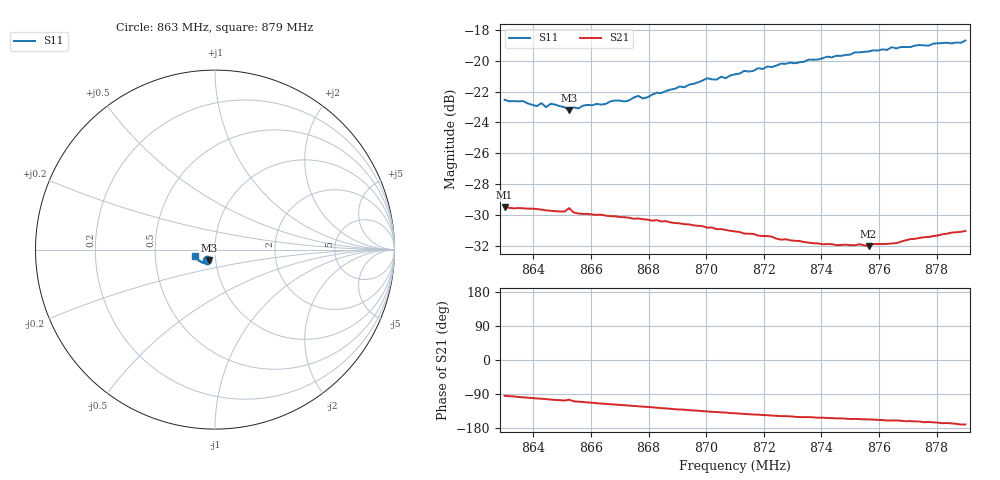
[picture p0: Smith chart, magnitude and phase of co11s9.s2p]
# HZ S RI R 50
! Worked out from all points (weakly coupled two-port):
!   101 points, 863 MHz to 879 MHz, reference 50 ohm
!   highest |S21| = -29.49 dB at 863 MHz (marker M1); lowest = -32.0 dB at 875.64 MHz (marker M2)
!   lowest |S11| = -23.2 dB at 865.24 MHz (marker M3), VSWR 1.15, Z = 46.3 - j5.54 ohm
!   |S11| at or under -10 dB: start of sweep to end of sweep
!   S12 and S22 are empty: the file has one direction only
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8.63e8  -0.045 -0.0596  -0.0027 -0.0334  0 0  0 0
8.6364e8  -0.0438 -0.0596  -0.00496 -0.0329  0 0  0 0
8.6412e8  -0.0413 -0.058  -0.0065 -0.0324  0 0  0 0
8.6428e8  -0.0411 -0.0601  -0.00698 -0.0322  0 0  0 0
8.6444e8  -0.04 -0.0583  -0.00751 -0.0319  0 0  0 0
8.646e8  -0.0405 -0.0602  -0.00809 -0.0316  0 0  0 0
8.6508e8  -0.0387 -0.0592  -0.00954 -0.031  0 0  0 0
8.6524e8  -0.0348 -0.0596  -0.00846 -0.0322  0 0  0 0
8.654e8  -0.0375 -0.0598  -0.0105 -0.0305  0 0  0 0
8.6572e8  -0.0369 -0.0612  -0.0112 -0.0298  0 0  0 0
8.6716e8  -0.0369 -0.0638  -0.0152 -0.0271  0 0  0 0
8.6764e8  -0.0387 -0.0664  -0.0164 -0.0261  0 0  0 0
8.678e8  -0.0379 -0.0652  -0.0167 -0.0257  0 0  0 0
8.6844e8  -0.04 -0.0675  -0.0181 -0.0241  0 0  0 0
8.7004e8  -0.0479 -0.0735  -0.0206 -0.0201  0 0  0 0
8.7036e8  -0.0483 -0.0722  -0.0209 -0.0193  0 0  0 0
8.71e8  -0.0529 -0.0732  -0.0216 -0.0178  0 0  0 0
8.726e8  -0.064 -0.074  -0.0224 -0.0139  0 0  0 0
8.7372e8  -0.0703 -0.072  -0.0225 -0.0123  0 0  0 0
8.7564e8  -0.0865 -0.063  -0.023 -0.00988  0 0  0 0
8.7644e8  -0.094 -0.0582  -0.024 -0.0089  0 0  0 0
8.79e8  -0.1105 -0.036  -0.0277 -0.00486  0 0  0 0
